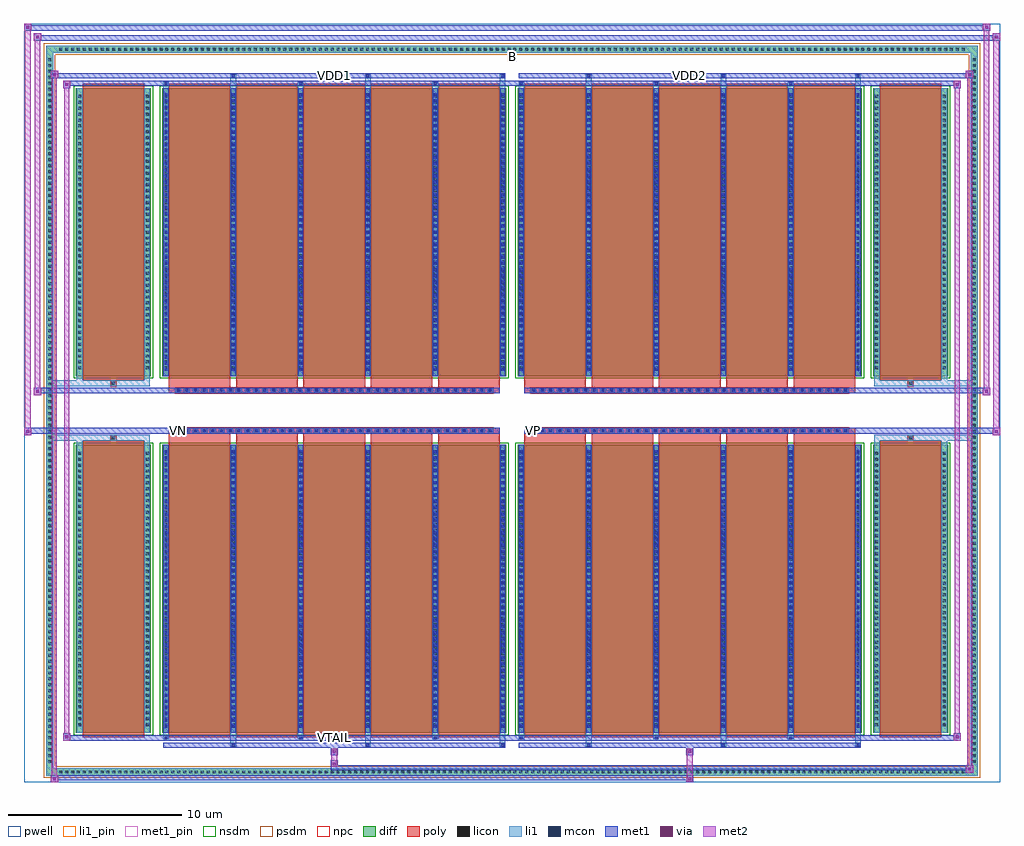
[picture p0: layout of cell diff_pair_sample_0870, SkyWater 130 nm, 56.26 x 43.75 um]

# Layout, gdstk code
import gdstk
lib = gdstk.Library(unit=1e-6, precision=5e-09)
def R(c, l, rs):  # rectangles x0, y0, x1, y1
    for r in rs: c.add(gdstk.rectangle(r[:2], r[2:], *l))
def A(c, l, x, y, w, h, nx, ny, dx, dy):  # array of equal rectangles
    R(c, l, [(x+i*dx, y+j*dy, x+i*dx+w, y+j*dy+h) for i in range(nx) for j in range(ny)])
def P(c, l, *ps):  # polygons
    for p in ps: c.add(gdstk.Polygon(p, *l))
pwell = (64, 44)
diff = (65, 20)
poly = (66, 20)
licon = (66, 44)
li1_pin = (67, 16)
li1 = (67, 20)
mcon = (67, 44)
met1_pin = (68, 16)
met1 = (68, 20)
via = (68, 44)
met2 = (69, 20)
nsdm = (93, 44)
psdm = (94, 20)
npc = (95, 20)

diff_pair_sample_0870 = lib.new_cell('diff_pair_sample_0870')
R(diff_pair_sample_0870, pwell, [(-28.13,-21.44,28.13,22.31), (-25.45,-19.63,-0.01,-0.795), (0.01,-19.63,25.45,-0.795), (-25.45,0.795,-0.01,19.63), (0.01,0.795,25.45,19.63)])
A(diff_pair_sample_0870, diff, -26.215, -21.04, 0.41, 0.41, 154, 2, 0.34, 41.67)
A(diff_pair_sample_0870, diff, -26.86, -20.435, 0.41, 0.41, 1, 120, 0, 0.34)
A(diff_pair_sample_0870, diff, 26.45, -20.435, 0.41, 0.41, 1, 120, 0, 0.34)
R(diff_pair_sample_0870, diff, [(-26.215,-21.04,26.215,-20.63), (-26.86,-20.435,-26.45,20.435), (26.45,-20.435,26.86,20.435), (-25.14,-18.585,-20.81,-1.985), (-20.17,-18.585,-0.32,-1.985), (0.32,-18.585,20.17,-1.985), (20.81,-18.585,25.14,-1.985), (-25.14,1.985,-20.81,18.585), (-20.17,1.985,-0.32,18.585), (0.32,1.985,20.17,18.585), (20.81,1.985,25.14,18.585), (-26.215,20.63,26.215,21.04)])
P(diff_pair_sample_0870, diff, [(26.86,21.04),(-26.86,21.04),(-26.86,-20.63),(-26.45,-20.63),(-26.45,20.63),(26.45,20.63),(26.45,-20.63),(-26.45,-20.63),(-26.86,-20.63),(-26.86,-21.04),(26.86,-21.04)])
A(diff_pair_sample_0870, poly, -19.78, -18.835, 3.55, 17.1, 5, 2, 3.88, 20.57)
A(diff_pair_sample_0870, poly, 0.71, -18.835, 3.55, 17.1, 5, 2, 3.88, 20.57)
A(diff_pair_sample_0870, poly, -19.78, -1.735, 3.55, 0.41, 5, 2, 3.88, 3.06)
A(diff_pair_sample_0870, poly, 0.71, -1.735, 3.55, 0.41, 5, 2, 3.88, 3.06)
A(diff_pair_sample_0870, poly, -19.41, -1.325, 0.33, 0.33, 37, 2, 0.5, 2.32)
A(diff_pair_sample_0870, poly, 1.08, -1.325, 0.33, 0.33, 37, 2, 0.5, 2.32)
R(diff_pair_sample_0870, poly, [(-24.75,-18.835,-21.2,-1.735), (21.2,-18.835,24.75,-1.735), (-23.14,-1.735,-22.81,-1.405), (-23.14,-1.735,-22.81,-1.405), (22.81,-1.735,23.14,-1.405), (22.81,-1.735,23.14,-1.405), (-19.78,-1.325,-0.71,-0.995), (0.71,-1.325,19.78,-0.995), (-19.78,0.995,-0.71,1.325), (0.71,0.995,19.78,1.325), (-23.14,1.405,-22.81,1.735), (-23.14,1.405,-22.81,1.735), (22.81,1.405,23.14,1.735), (22.81,1.405,23.14,1.735), (-24.75,1.735,-21.2,18.835), (21.2,1.735,24.75,18.835)])
A(diff_pair_sample_0870, licon, -26.095, -20.92, 0.17, 0.17, 154, 2, 0.34, 41.67)
A(diff_pair_sample_0870, licon, -26.74, -20.315, 0.17, 0.17, 1, 120, 0, 0.34)
A(diff_pair_sample_0870, licon, 26.57, -20.315, 0.17, 0.17, 1, 120, 0, 0.34)
A(diff_pair_sample_0870, licon, -25, -18.19, 0.17, 0.17, 1, 47, 0, 0.34)
A(diff_pair_sample_0870, licon, -21.12, -18.19, 0.17, 0.17, 1, 47, 0, 0.34)
A(diff_pair_sample_0870, licon, -20.03, -18.19, 0.17, 0.17, 6, 47, 3.88, 0.34)
A(diff_pair_sample_0870, licon, 0.46, -18.19, 0.17, 0.17, 6, 47, 3.88, 0.34)
A(diff_pair_sample_0870, licon, 20.95, -18.19, 0.17, 0.17, 1, 47, 0, 0.34)
A(diff_pair_sample_0870, licon, 24.83, -18.19, 0.17, 0.17, 1, 47, 0, 0.34)
A(diff_pair_sample_0870, licon, -19.33, -1.245, 0.17, 0.17, 37, 2, 0.5, 2.32)
A(diff_pair_sample_0870, licon, 1.16, -1.245, 0.17, 0.17, 37, 2, 0.5, 2.32)
A(diff_pair_sample_0870, licon, -25, 2.38, 0.17, 0.17, 1, 47, 0, 0.34)
A(diff_pair_sample_0870, licon, -21.12, 2.38, 0.17, 0.17, 1, 47, 0, 0.34)
A(diff_pair_sample_0870, licon, -20.03, 2.38, 0.17, 0.17, 6, 47, 3.88, 0.34)
A(diff_pair_sample_0870, licon, 0.46, 2.38, 0.17, 0.17, 6, 47, 3.88, 0.34)
A(diff_pair_sample_0870, licon, 20.95, 2.38, 0.17, 0.17, 1, 47, 0, 0.34)
A(diff_pair_sample_0870, licon, 24.83, 2.38, 0.17, 0.17, 1, 47, 0, 0.34)
R(diff_pair_sample_0870, licon, [(-23.06,-1.655,-22.89,-1.485), (22.89,-1.655,23.06,-1.485), (-23.06,1.485,-22.89,1.655), (22.89,1.485,23.06,1.655)])
R(diff_pair_sample_0870, li1_pin, [(-0.25,20.13,0.25,20.63)])
A(diff_pair_sample_0870, li1, -26.175, -21, 0.33, 0.33, 154, 2, 0.34, 41.67)
A(diff_pair_sample_0870, li1, -26.82, -20.395, 0.33, 0.33, 1, 120, 0, 0.34)
A(diff_pair_sample_0870, li1, 26.49, -20.395, 0.33, 0.33, 1, 120, 0, 0.34)
A(diff_pair_sample_0870, li1, -16.23, -19.39, 0.33, 0.805, 3, 2, 7.76, 37.975)
A(diff_pair_sample_0870, li1, -16.15, -19.39, 0.17, 0.17, 3, 2, 7.76, 38.61)
A(diff_pair_sample_0870, li1, 4.26, -19.39, 0.33, 0.805, 3, 2, 7.76, 37.975)
A(diff_pair_sample_0870, li1, 4.34, -19.39, 0.17, 0.17, 3, 2, 7.76, 38.61)
A(diff_pair_sample_0870, li1, -20.11, -18.96, 0.33, 0.375, 3, 2, 7.76, 37.545)
A(diff_pair_sample_0870, li1, -20.03, -18.96, 0.17, 0.17, 3, 2, 7.76, 37.75)
A(diff_pair_sample_0870, li1, 0.38, -18.96, 0.33, 0.375, 3, 2, 7.76, 37.545)
A(diff_pair_sample_0870, li1, 0.46, -18.96, 0.17, 0.17, 3, 2, 7.76, 37.75)
A(diff_pair_sample_0870, li1, -20.11, -18.585, 0.33, 16.6, 6, 2, 3.88, 20.57)
A(diff_pair_sample_0870, li1, 0.38, -18.585, 0.33, 16.6, 6, 2, 3.88, 20.57)
A(diff_pair_sample_0870, li1, -20.03, -18.29, 0.17, 0.17, 6, 45, 3.88, 0.36)
A(diff_pair_sample_0870, li1, -20.03, -18.29, 0.17, 16.01, 6, 2, 3.88, 20.57)
A(diff_pair_sample_0870, li1, 0.46, -18.29, 0.17, 0.17, 6, 45, 3.88, 0.36)
A(diff_pair_sample_0870, li1, 0.46, -18.29, 0.17, 16.01, 6, 2, 3.88, 20.57)
A(diff_pair_sample_0870, li1, -25.08, -18.27, 0.33, 0.33, 1, 47, 0, 0.34)
A(diff_pair_sample_0870, li1, -21.2, -18.27, 0.33, 0.33, 1, 47, 0, 0.34)
A(diff_pair_sample_0870, li1, -20.11, -18.27, 0.33, 0.33, 6, 47, 3.88, 0.34)
A(diff_pair_sample_0870, li1, 0.38, -18.27, 0.33, 0.33, 6, 47, 3.88, 0.34)
A(diff_pair_sample_0870, li1, 20.87, -18.27, 0.33, 0.33, 1, 47, 0, 0.34)
A(diff_pair_sample_0870, li1, 24.75, -18.27, 0.33, 0.33, 1, 47, 0, 0.34)
A(diff_pair_sample_0870, li1, -19.41, -1.325, 0.33, 0.33, 37, 2, 0.5, 2.32)
A(diff_pair_sample_0870, li1, 1.08, -1.325, 0.33, 0.33, 37, 2, 0.5, 2.32)
A(diff_pair_sample_0870, li1, -20.03, 2.28, 0.17, 0.17, 6, 45, 3.88, 0.36)
A(diff_pair_sample_0870, li1, 0.46, 2.28, 0.17, 0.17, 6, 45, 3.88, 0.36)
A(diff_pair_sample_0870, li1, -25.08, 2.3, 0.33, 0.33, 1, 47, 0, 0.34)
A(diff_pair_sample_0870, li1, -21.2, 2.3, 0.33, 0.33, 1, 47, 0, 0.34)
A(diff_pair_sample_0870, li1, -20.11, 2.3, 0.33, 0.33, 6, 47, 3.88, 0.34)
A(diff_pair_sample_0870, li1, 0.38, 2.3, 0.33, 0.33, 6, 47, 3.88, 0.34)
A(diff_pair_sample_0870, li1, 20.87, 2.3, 0.33, 0.33, 1, 47, 0, 0.34)
A(diff_pair_sample_0870, li1, 24.75, 2.3, 0.33, 0.33, 1, 47, 0, 0.34)
R(diff_pair_sample_0870, li1, [(-26.86,-21.04,-26.45,-20.63), (-26.86,-21.04,-26.45,-20.63), (-26.45,-21.04,26.45,-20.63), (26.45,-21.04,26.86,-20.63), (26.45,-21.04,26.86,-20.63), (-26.86,-20.63,-26.45,20.63), (26.45,-20.63,26.86,20.63), (-25.08,-18.585,-24.75,-1.985), (-21.2,-18.585,-20.87,-1.985), (20.87,-18.585,21.2,-1.985), (24.75,-18.585,25.08,-1.985), (-25.08,-1.985,-24.75,-1.405), (-21.2,-1.985,-20.87,-1.405), (20.87,-1.985,21.2,-1.405), (24.75,-1.985,25.08,-1.405), (-26.86,-1.735,-23.14,-1.405), (-25.08,-1.735,-23.14,-1.405), (-23.14,-1.735,-22.81,-1.405), (-22.81,-1.735,-20.87,-1.405), (20.87,-1.735,22.81,-1.405), (22.81,-1.735,23.14,-1.405), (22.81,-1.735,26.86,-1.405), (23.14,-1.735,25.08,-1.405), (-26.86,1.405,-23.14,1.735), (-25.08,1.405,-23.14,1.735), (-25.08,1.405,-24.75,1.985), (-23.14,1.405,-22.81,1.735), (-22.81,1.405,-20.87,1.735), (-21.2,1.405,-20.87,1.985), (20.87,1.405,22.81,1.735), (20.87,1.405,21.2,1.985), (22.81,1.405,23.14,1.735), (22.81,1.405,26.86,1.735), (23.14,1.405,25.08,1.735), (24.75,1.405,25.08,1.985), (-25.08,1.985,-24.75,18.585), (-21.2,1.985,-20.87,18.585), (20.87,1.985,21.2,18.585), (24.75,1.985,25.08,18.585), (-26.86,20.63,-26.45,21.04), (-26.86,20.63,-26.45,21.04), (-26.45,20.63,26.45,21.04), (26.45,20.63,26.86,21.04), (26.45,20.63,26.86,21.04)])
A(diff_pair_sample_0870, mcon, -16.15, -19.39, 0.17, 0.17, 3, 2, 7.76, 38.61)
A(diff_pair_sample_0870, mcon, 4.34, -19.39, 0.17, 0.17, 3, 2, 7.76, 38.61)
A(diff_pair_sample_0870, mcon, -20.03, -18.96, 0.17, 0.17, 3, 2, 7.76, 37.75)
A(diff_pair_sample_0870, mcon, 0.46, -18.96, 0.17, 0.17, 3, 2, 7.76, 37.75)
A(diff_pair_sample_0870, mcon, -20.03, -18.29, 0.17, 0.17, 6, 45, 3.88, 0.36)
A(diff_pair_sample_0870, mcon, 0.46, -18.29, 0.17, 0.17, 6, 45, 3.88, 0.36)
A(diff_pair_sample_0870, mcon, -19.33, -1.245, 0.17, 0.17, 37, 2, 0.5, 2.32)
A(diff_pair_sample_0870, mcon, 1.16, -1.245, 0.17, 0.17, 37, 2, 0.5, 2.32)
A(diff_pair_sample_0870, mcon, -20.03, 2.28, 0.17, 0.17, 6, 45, 3.88, 0.36)
A(diff_pair_sample_0870, mcon, 0.46, 2.28, 0.17, 0.17, 6, 45, 3.88, 0.36)
R(diff_pair_sample_0870, met1_pin, [(-10.38,-19,-10.11,-18.73), (-19.38,-1.285,-19.11,-1.015), (1.11,-1.285,1.38,-1.015), (-10.38,19.18,-10.11,19.45), (10.11,19.18,10.38,19.45)])
A(diff_pair_sample_0870, met1, -16.21, -19.45, 0.29, 0.29, 3, 2, 7.76, 38.61)
A(diff_pair_sample_0870, met1, 4.28, -19.45, 0.29, 0.29, 3, 2, 7.76, 38.61)
A(diff_pair_sample_0870, met1, -20.09, -19.02, 0.29, 0.29, 3, 2, 7.76, 37.75)
A(diff_pair_sample_0870, met1, 0.4, -19.02, 0.29, 0.29, 3, 2, 7.76, 37.75)
A(diff_pair_sample_0870, met1, -20.09, -18.585, 0.29, 16.6, 6, 2, 3.88, 20.57)
A(diff_pair_sample_0870, met1, 0.4, -18.585, 0.29, 16.6, 6, 2, 3.88, 20.57)
A(diff_pair_sample_0870, met1, -20.09, -18.35, 0.29, 0.29, 6, 45, 3.88, 0.36)
A(diff_pair_sample_0870, met1, 0.4, -18.35, 0.29, 0.29, 6, 45, 3.88, 0.36)
A(diff_pair_sample_0870, met1, -19.39, -1.305, 0.29, 0.29, 37, 2, 0.5, 2.32)
A(diff_pair_sample_0870, met1, 1.1, -1.305, 0.29, 0.29, 37, 2, 0.5, 2.32)
A(diff_pair_sample_0870, met1, -20.09, 2.22, 0.29, 0.29, 6, 45, 3.88, 0.36)
A(diff_pair_sample_0870, met1, 0.4, 2.22, 0.29, 0.29, 6, 45, 3.88, 0.36)
R(diff_pair_sample_0870, met1, [(-26.59,-21.44,-26.16,-21.01), (10.03,-21.44,10.46,-21.01), (-26.59,-21.3,10.46,-21.01), (26.16,-20.87,26.59,-20.44), (-10.46,-20.73,26.59,-20.44), (-10.46,-20.59,-10.03,-20.16), (-10.46,-19.88,-10.03,-19.45), (10.03,-19.88,10.46,-19.45), (-20.09,-19.45,-0.4,-19.16), (0.4,-19.45,20.09,-19.16), (-25.88,-19.02,-25.45,-18.59), (-25.88,-19.02,-20.09,-18.73), (-20.09,-19.02,-0.4,-18.73), (-0.4,-19.02,0.4,-18.73), (0.4,-19.02,20.09,-18.73), (20.09,-19.02,25.88,-18.73), (25.45,-19.02,25.88,-18.59), (-28.13,-1.425,-27.7,-0.995), (27.7,-1.425,28.13,-0.995), (-28.13,-1.325,-0.71,-0.995), (-19.78,-1.325,-0.71,-0.995), (0.71,-1.325,19.78,-0.995), (0.71,-1.325,28.13,-0.995), (-27.56,0.895,-27.13,1.325), (27.13,0.895,27.56,1.325), (-27.56,0.995,-19.78,1.325), (-19.78,0.995,-0.71,1.325), (0.71,0.995,19.78,1.325), (19.78,0.995,27.56,1.325), (-25.88,18.59,-25.45,19.02), (25.45,18.59,25.88,19.02), (-25.88,18.73,-20.09,19.02), (-20.09,18.73,-0.4,19.02), (-0.4,18.73,0.4,19.02), (0.4,18.73,20.09,19.02), (20.09,18.73,25.88,19.02), (-26.59,19.16,-26.16,19.59), (-26.59,19.16,-20.09,19.45), (-20.09,19.16,-0.4,19.45), (0.4,19.16,20.09,19.45), (20.09,19.16,26.59,19.45), (26.16,19.16,26.59,19.59), (-27.56,21.31,-27.13,21.74), (-27.56,21.31,-25.45,21.64), (-25.45,21.31,25.45,21.64), (25.45,21.31,28.13,21.64), (27.7,21.31,28.13,21.74), (-28.13,21.88,-27.7,22.31), (-28.13,21.88,-25.45,22.21), (-25.45,21.88,25.45,22.21), (25.45,21.88,27.56,22.21), (27.13,21.88,27.56,22.31)])
R(diff_pair_sample_0870, via, [(-26.45,-21.3,-26.3,-21.15), (10.17,-21.3,10.32,-21.15), (26.3,-20.73,26.45,-20.58), (-10.32,-20.45,-10.17,-20.3), (-10.32,-19.74,-10.17,-19.59), (10.17,-19.74,10.32,-19.59), (-25.74,-18.88,-25.59,-18.73), (25.59,-18.88,25.74,-18.73), (-27.99,-1.285,-27.84,-1.135), (27.84,-1.285,27.99,-1.135), (-27.42,1.035,-27.27,1.185), (27.27,1.035,27.42,1.185), (-25.74,18.73,-25.59,18.88), (25.59,18.73,25.74,18.88), (-26.45,19.3,-26.3,19.45), (26.3,19.3,26.45,19.45), (-27.42,21.45,-27.27,21.6), (27.84,21.45,27.99,21.6), (-27.99,22.02,-27.84,22.17), (27.27,22.02,27.42,22.17)])
R(diff_pair_sample_0870, met2, [(-26.59,-21.44,-26.16,-21.01), (-26.52,-21.44,-26.23,19.59), (-26.23,-21.44,-26.16,-21.01), (-26.54,-21.39,-26.21,-21.06), (10.08,-21.39,10.41,-21.06), (10.08,-21.06,10.41,-19.83), (26.16,-20.87,26.59,-20.44), (26.23,-20.87,26.52,19.59), (26.52,-20.87,26.59,-20.44), (26.21,-20.82,26.54,-20.49), (-10.41,-20.54,-10.08,-20.21), (-10.41,-20.21,-10.08,-19.83), (-10.41,-19.83,-10.08,-19.5), (10.08,-19.83,10.41,-19.5), (-25.88,-19.02,-25.45,-18.59), (-25.81,-19.02,-25.52,19.02), (-25.52,-19.02,-25.45,-18.59), (25.45,-19.02,25.88,-18.59), (25.52,-19.02,25.81,19.02), (25.81,-19.02,25.88,-18.59), (-25.83,-18.97,-25.5,-18.64), (25.5,-18.97,25.83,-18.64), (-28.13,-1.425,-27.7,-0.995), (-28.08,-1.425,-27.75,22.31), (-27.75,-1.425,-27.7,-0.995), (27.7,-1.425,28.13,-0.995), (27.75,-1.425,28.08,21.74), (28.08,-1.425,28.13,-0.995), (-28.08,-1.375,-27.75,-1.045), (27.75,-1.375,28.08,-1.045), (-27.56,0.895,-27.13,1.325), (-27.51,0.895,-27.18,21.74), (-27.18,0.895,-27.13,1.325), (27.13,0.895,27.56,1.325), (27.18,0.895,27.51,22.31), (27.51,0.895,27.56,1.325), (-27.51,0.945,-27.18,1.275), (27.18,0.945,27.51,1.275), (-25.88,18.59,-25.45,19.02), (-25.52,18.59,-25.45,19.02), (25.45,18.59,25.88,19.02), (25.81,18.59,25.88,19.02), (-25.83,18.64,-25.5,18.97), (25.5,18.64,25.83,18.97), (-26.59,19.16,-26.16,19.59), (-26.23,19.16,-26.16,19.59), (26.16,19.16,26.59,19.59), (26.52,19.16,26.59,19.59), (-26.54,19.21,-26.21,19.54), (26.21,19.21,26.54,19.54), (-27.56,21.31,-27.13,21.74), (-27.18,21.31,-27.13,21.74), (27.7,21.31,28.13,21.74), (28.08,21.31,28.13,21.74), (-27.51,21.36,-27.18,21.69), (27.75,21.36,28.08,21.69), (-28.13,21.88,-27.7,22.31), (-27.75,21.88,-27.7,22.31), (27.13,21.88,27.56,22.31), (27.51,21.88,27.56,22.31), (-28.08,21.93,-27.75,22.26), (27.18,21.93,27.51,22.26)])
R(diff_pair_sample_0870, nsdm, [(-25.27,-18.715,-20.68,-1.855), (-20.3,-18.715,-0.19,-1.855), (0.19,-18.715,20.3,-1.855), (20.68,-18.715,25.27,-1.855), (-25.27,1.855,-20.68,18.715), (-20.3,1.855,-0.19,18.715), (0.19,1.855,20.3,18.715), (20.68,1.855,25.27,18.715)])
P(diff_pair_sample_0870, psdm, [(26.99,21.17),(-26.99,21.17),(-26.99,-20.5),(-26.32,-20.5),(-26.32,20.5),(26.32,20.5),(26.32,-20.5),(-26.32,-20.5),(-26.99,-20.5),(-26.99,-21.17),(26.99,-21.17)])
A(diff_pair_sample_0870, npc, -19.43, -1.345, 0.37, 0.37, 37, 2, 0.5, 2.32)
A(diff_pair_sample_0870, npc, 1.06, -1.345, 0.37, 0.37, 37, 2, 0.5, 2.32)
R(diff_pair_sample_0870, npc, [(-23.16,-1.755,-22.79,-1.385), (22.79,-1.755,23.16,-1.385), (-19.43,-1.345,-18.56,-0.975), (-19.43,-1.345,-18.56,-0.975), (-18.93,-1.345,-18.06,-0.975), (-18.93,-1.345,-18.06,-0.975), (-18.43,-1.345,-17.56,-0.975), (-18.43,-1.345,-17.56,-0.975), (-17.93,-1.345,-17.06,-0.975), (-17.93,-1.345,-17.06,-0.975), (-17.43,-1.345,-16.56,-0.975), (-17.43,-1.345,-16.56,-0.975), (-16.93,-1.345,-16.06,-0.975), (-16.93,-1.345,-16.06,-0.975), (-16.43,-1.345,-15.56,-0.975), (-16.43,-1.345,-15.56,-0.975), (-15.93,-1.345,-15.06,-0.975), (-15.93,-1.345,-15.06,-0.975), (-15.43,-1.345,-14.56,-0.975), (-15.43,-1.345,-14.56,-0.975), (-14.93,-1.345,-14.06,-0.975), (-14.93,-1.345,-14.06,-0.975), (-14.43,-1.345,-13.56,-0.975), (-14.43,-1.345,-13.56,-0.975), (-13.93,-1.345,-13.06,-0.975), (-13.93,-1.345,-13.06,-0.975), (-13.43,-1.345,-12.56,-0.975), (-13.43,-1.345,-12.56,-0.975), (-12.93,-1.345,-12.06,-0.975), (-12.93,-1.345,-12.06,-0.975), (-12.43,-1.345,-11.56,-0.975), (-12.43,-1.345,-11.56,-0.975), (-11.93,-1.345,-11.06,-0.975), (-11.93,-1.345,-11.06,-0.975), (-11.43,-1.345,-10.56,-0.975), (-11.43,-1.345,-10.56,-0.975), (-10.93,-1.345,-10.06,-0.975), (-10.93,-1.345,-10.06,-0.975), (-10.43,-1.345,-9.56,-0.975), (-10.43,-1.345,-9.56,-0.975), (-9.93,-1.345,-9.06,-0.975), (-9.93,-1.345,-9.06,-0.975), (-9.43,-1.345,-8.56,-0.975), (-9.43,-1.345,-8.56,-0.975), (-8.93,-1.345,-8.06,-0.975), (-8.93,-1.345,-8.06,-0.975), (-8.43,-1.345,-7.56,-0.975), (-8.43,-1.345,-7.56,-0.975), (-7.93,-1.345,-7.06,-0.975), (-7.93,-1.345,-7.06,-0.975), (-7.43,-1.345,-6.56,-0.975), (-7.43,-1.345,-6.56,-0.975), (-6.93,-1.345,-6.06,-0.975), (-6.93,-1.345,-6.06,-0.975), (-6.43,-1.345,-5.56,-0.975), (-6.43,-1.345,-5.56,-0.975), (-5.93,-1.345,-5.06,-0.975), (-5.93,-1.345,-5.06,-0.975), (-5.43,-1.345,-4.56,-0.975), (-5.43,-1.345,-4.56,-0.975), (-4.93,-1.345,-4.06,-0.975), (-4.93,-1.345,-4.06,-0.975), (-4.43,-1.345,-3.56,-0.975), (-4.43,-1.345,-3.56,-0.975), (-3.93,-1.345,-3.06,-0.975), (-3.93,-1.345,-3.06,-0.975), (-3.43,-1.345,-2.56,-0.975), (-3.43,-1.345,-2.56,-0.975), (-2.93,-1.345,-2.06,-0.975), (-2.93,-1.345,-2.06,-0.975), (-2.43,-1.345,-1.56,-0.975), (-2.43,-1.345,-1.56,-0.975), (-1.93,-1.345,-1.06,-0.975), (-1.93,-1.345,-1.06,-0.975), (1.06,-1.345,1.93,-0.975), (1.06,-1.345,1.93,-0.975), (1.56,-1.345,2.43,-0.975), (1.56,-1.345,2.43,-0.975), (2.06,-1.345,2.93,-0.975), (2.06,-1.345,2.93,-0.975), (2.56,-1.345,3.43,-0.975), (2.56,-1.345,3.43,-0.975), (3.06,-1.345,3.93,-0.975), (3.06,-1.345,3.93,-0.975), (3.56,-1.345,4.43,-0.975), (3.56,-1.345,4.43,-0.975), (4.06,-1.345,4.93,-0.975), (4.06,-1.345,4.93,-0.975), (4.56,-1.345,5.43,-0.975), (4.56,-1.345,5.43,-0.975), (5.06,-1.345,5.93,-0.975), (5.06,-1.345,5.93,-0.975), (5.56,-1.345,6.43,-0.975), (5.56,-1.345,6.43,-0.975), (6.06,-1.345,6.93,-0.975), (6.06,-1.345,6.93,-0.975), (6.56,-1.345,7.43,-0.975), (6.56,-1.345,7.43,-0.975), (7.06,-1.345,7.93,-0.975), (7.06,-1.345,7.93,-0.975), (7.56,-1.345,8.43,-0.975), (7.56,-1.345,8.43,-0.975), (8.06,-1.345,8.93,-0.975), (8.06,-1.345,8.93,-0.975), (8.56,-1.345,9.43,-0.975), (8.56,-1.345,9.43,-0.975), (9.06,-1.345,9.93,-0.975), (9.06,-1.345,9.93,-0.975), (9.56,-1.345,10.43,-0.975), (9.56,-1.345,10.43,-0.975), (10.06,-1.345,10.93,-0.975), (10.06,-1.345,10.93,-0.975), (10.56,-1.345,11.43,-0.975), (10.56,-1.345,11.43,-0.975), (11.06,-1.345,11.93,-0.975), (11.06,-1.345,11.93,-0.975), (11.56,-1.345,12.43,-0.975), (11.56,-1.345,12.43,-0.975), (12.06,-1.345,12.93,-0.975), (12.06,-1.345,12.93,-0.975), (12.56,-1.345,13.43,-0.975), (12.56,-1.345,13.43,-0.975), (13.06,-1.345,13.93,-0.975), (13.06,-1.345,13.93,-0.975), (13.56,-1.345,14.43,-0.975), (13.56,-1.345,14.43,-0.975), (14.06,-1.345,14.93,-0.975), (14.06,-1.345,14.93,-0.975), (14.56,-1.345,15.43,-0.975), (14.56,-1.345,15.43,-0.975), (15.06,-1.345,15.93,-0.975), (15.06,-1.345,15.93,-0.975), (15.56,-1.345,16.43,-0.975), (15.56,-1.345,16.43,-0.975), (16.06,-1.345,16.93,-0.975), (16.06,-1.345,16.93,-0.975), (16.56,-1.345,17.43,-0.975), (16.56,-1.345,17.43,-0.975), (17.06,-1.345,17.93,-0.975), (17.06,-1.345,17.93,-0.975), (17.56,-1.345,18.43,-0.975), (17.56,-1.345,18.43,-0.975), (18.06,-1.345,18.93,-0.975), (18.06,-1.345,18.93,-0.975), (18.56,-1.345,19.43,-0.975), (18.56,-1.345,19.43,-0.975), (-19.43,0.975,-18.56,1.345), (-19.43,0.975,-18.56,1.345), (-18.93,0.975,-18.06,1.345), (-18.93,0.975,-18.06,1.345), (-18.43,0.975,-17.56,1.345), (-18.43,0.975,-17.56,1.345), (-17.93,0.975,-17.06,1.345), (-17.93,0.975,-17.06,1.345), (-17.43,0.975,-16.56,1.345), (-17.43,0.975,-16.56,1.345), (-16.93,0.975,-16.06,1.345), (-16.93,0.975,-16.06,1.345), (-16.43,0.975,-15.56,1.345), (-16.43,0.975,-15.56,1.345), (-15.93,0.975,-15.06,1.345), (-15.93,0.975,-15.06,1.345), (-15.43,0.975,-14.56,1.345), (-15.43,0.975,-14.56,1.345), (-14.93,0.975,-14.06,1.345), (-14.93,0.975,-14.06,1.345), (-14.43,0.975,-13.56,1.345), (-14.43,0.975,-13.56,1.345), (-13.93,0.975,-13.06,1.345), (-13.93,0.975,-13.06,1.345), (-13.43,0.975,-12.56,1.345), (-13.43,0.975,-12.56,1.345), (-12.93,0.975,-12.06,1.345), (-12.93,0.975,-12.06,1.345), (-12.43,0.975,-11.56,1.345), (-12.43,0.975,-11.56,1.345), (-11.93,0.975,-11.06,1.345), (-11.93,0.975,-11.06,1.345), (-11.43,0.975,-10.56,1.345), (-11.43,0.975,-10.56,1.345), (-10.93,0.975,-10.06,1.345), (-10.93,0.975,-10.06,1.345), (-10.43,0.975,-9.56,1.345), (-10.43,0.975,-9.56,1.345), (-9.93,0.975,-9.06,1.345), (-9.93,0.975,-9.06,1.345), (-9.43,0.975,-8.56,1.345), (-9.43,0.975,-8.56,1.345), (-8.93,0.975,-8.06,1.345), (-8.93,0.975,-8.06,1.345), (-8.43,0.975,-7.56,1.345), (-8.43,0.975,-7.56,1.345), (-7.93,0.975,-7.06,1.345), (-7.93,0.975,-7.06,1.345), (-7.43,0.975,-6.56,1.345), (-7.43,0.975,-6.56,1.345), (-6.93,0.975,-6.06,1.345), (-6.93,0.975,-6.06,1.345), (-6.43,0.975,-5.56,1.345), (-6.43,0.975,-5.56,1.345), (-5.93,0.975,-5.06,1.345), (-5.93,0.975,-5.06,1.345), (-5.43,0.975,-4.56,1.345), (-5.43,0.975,-4.56,1.345), (-4.93,0.975,-4.06,1.345), (-4.93,0.975,-4.06,1.345), (-4.43,0.975,-3.56,1.345), (-4.43,0.975,-3.56,1.345), (-3.93,0.975,-3.06,1.345), (-3.93,0.975,-3.06,1.345), (-3.43,0.975,-2.56,1.345), (-3.43,0.975,-2.56,1.345), (-2.93,0.975,-2.06,1.345), (-2.93,0.975,-2.06,1.345), (-2.43,0.975,-1.56,1.345), (-2.43,0.975,-1.56,1.345), (-1.93,0.975,-1.06,1.345), (-1.93,0.975,-1.06,1.345), (1.06,0.975,1.93,1.345), (1.06,0.975,1.93,1.345), (1.56,0.975,2.43,1.345), (1.56,0.975,2.43,1.345), (2.06,0.975,2.93,1.345), (2.06,0.975,2.93,1.345), (2.56,0.975,3.43,1.345), (2.56,0.975,3.43,1.345), (3.06,0.975,3.93,1.345), (3.06,0.975,3.93,1.345), (3.56,0.975,4.43,1.345), (3.56,0.975,4.43,1.345), (4.06,0.975,4.93,1.345), (4.06,0.975,4.93,1.345), (4.56,0.975,5.43,1.345), (4.56,0.975,5.43,1.345), (5.06,0.975,5.93,1.345), (5.06,0.975,5.93,1.345), (5.56,0.975,6.43,1.345), (5.56,0.975,6.43,1.345), (6.06,0.975,6.93,1.345), (6.06,0.975,6.93,1.345), (6.56,0.975,7.43,1.345), (6.56,0.975,7.43,1.345), (7.06,0.975,7.93,1.345), (7.06,0.975,7.93,1.345), (7.56,0.975,8.43,1.345), (7.56,0.975,8.43,1.345), (8.06,0.975,8.93,1.345), (8.06,0.975,8.93,1.345), (8.56,0.975,9.43,1.345), (8.56,0.975,9.43,1.345), (9.06,0.975,9.93,1.345), (9.06,0.975,9.93,1.345), (9.56,0.975,10.43,1.345), (9.56,0.975,10.43,1.345), (10.06,0.975,10.93,1.345), (10.06,0.975,10.93,1.345), (10.56,0.975,11.43,1.345), (10.56,0.975,11.43,1.345), (11.06,0.975,11.93,1.345), (11.06,0.975,11.93,1.345), (11.56,0.975,12.43,1.345), (11.56,0.975,12.43,1.345), (12.06,0.975,12.93,1.345), (12.06,0.975,12.93,1.345), (12.56,0.975,13.43,1.345), (12.56,0.975,13.43,1.345), (13.06,0.975,13.93,1.345), (13.06,0.975,13.93,1.345), (13.56,0.975,14.43,1.345), (13.56,0.975,14.43,1.345), (14.06,0.975,14.93,1.345), (14.06,0.975,14.93,1.345), (14.56,0.975,15.43,1.345), (14.56,0.975,15.43,1.345), (15.06,0.975,15.93,1.345), (15.06,0.975,15.93,1.345), (15.56,0.975,16.43,1.345), (15.56,0.975,16.43,1.345), (16.06,0.975,16.93,1.345), (16.06,0.975,16.93,1.345), (16.56,0.975,17.43,1.345), (16.56,0.975,17.43,1.345), (17.06,0.975,17.93,1.345), (17.06,0.975,17.93,1.345), (17.56,0.975,18.43,1.345), (17.56,0.975,18.43,1.345), (18.06,0.975,18.93,1.345), (18.06,0.975,18.93,1.345), (18.56,0.975,19.43,1.345), (18.56,0.975,19.43,1.345), (-23.16,1.385,-22.79,1.755), (22.79,1.385,23.16,1.755)])
diff_pair_sample_0870.add(gdstk.Label('VTAIL', (-10.245,-18.865), layer=68, texttype=5))
diff_pair_sample_0870.add(gdstk.Label('VN', (-19.245,-1.15), layer=68, texttype=5))
diff_pair_sample_0870.add(gdstk.Label('VP', (1.245,-1.15), layer=68, texttype=5))
diff_pair_sample_0870.add(gdstk.Label('B', (0,20.38), layer=67, texttype=5))
diff_pair_sample_0870.add(gdstk.Label('VDD2', (10.245,19.315), layer=68, texttype=5))
diff_pair_sample_0870.add(gdstk.Label('VDD1', (-10.245,19.315), layer=68, texttype=5))

lib.write_gds('diff_pair_sample_0870.gds')
